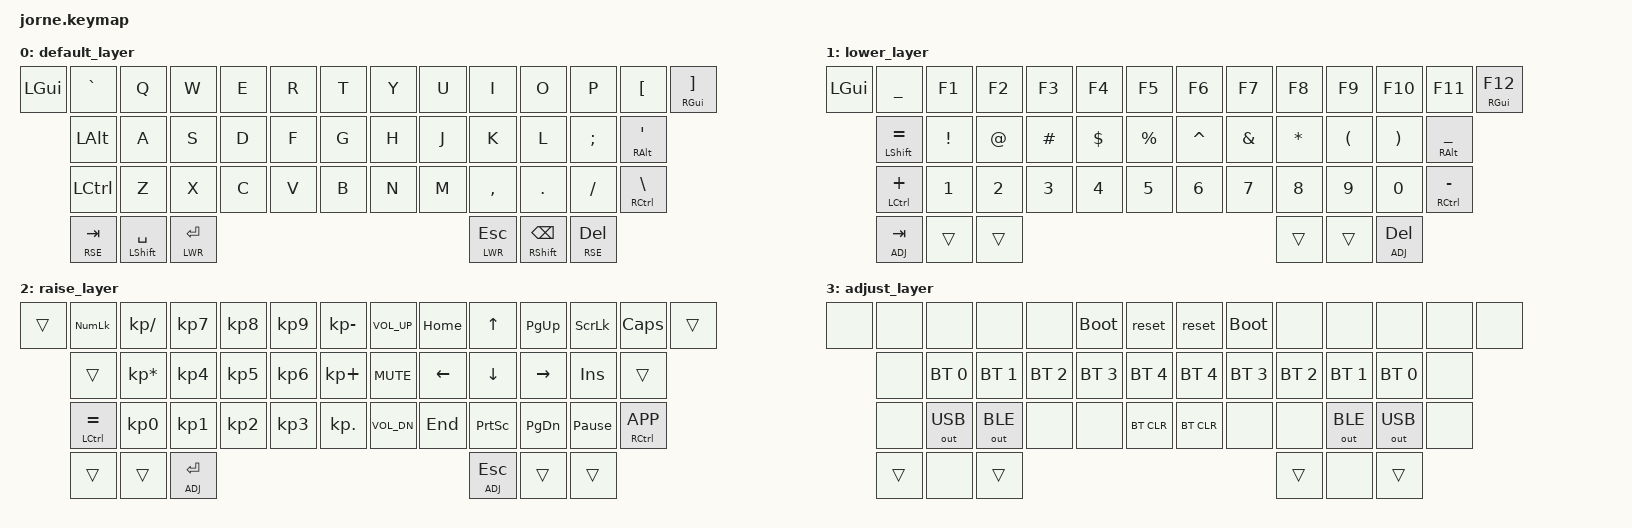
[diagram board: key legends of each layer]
/*
 * Copyright (c) 2020 The ZMK Contributors
 *
 * SPDX-License-Identifier: MIT
 */

#include <behaviors.dtsi>
#include <dt-bindings/zmk/keys.h>
#include <dt-bindings/zmk/bt.h>
#include <dt-bindings/zmk/ext_power.h>
#include <dt-bindings/zmk/outputs.h>

#define DEF 0
#define LWR 1
#define RSE 2
#define ADJ 3

&lt { quick_tap_ms = <200>; };
&mt { quick_tap_ms = <200>; };

/ {
        keymap {
                compatible = "zmk,keymap";

                default_layer {
// -----------------------------------------------------------------------------------------
// |  GUI |   ~  |  Q  |  W  |  E  |  R  |  T  |   |  Y  |  U   |  I  |  O  |  P  |   [   | GUI/] |
//        | LALT |  A  |  S  |  D  |  F  |  G  |   |  H  |  J   |  K  |  L  |  ;  | RALT/'|
//        | LCTRL|  Z  |  X  |  C  |  V  |  B  |   |  N  |  M   |  ,  |  .  |  /  | CTRL  |
//                           | RSE | SPC | LWR |   | LWR | BKSP | RSE |
                        bindings = <
   &kp LGUI &kp GRAVE &kp Q &kp W &kp E &kp R &kp T &kp Y   &kp U  &kp I     &kp O   &kp P    &kp LBKT &mt RGUI RBKT
            &kp LALT  &kp A &kp S &kp D &kp F &kp G &kp H   &kp J  &kp K     &kp L   &kp SEMI &mt RALT SQT
            &kp LCTRL &kp Z &kp X &kp C &kp V &kp B &kp N   &kp M  &kp COMMA &kp DOT &kp FSLH &mt RCTRL BSLH
                &lt RSE TAB  &mt LSHFT SPACE  &lt LWR RET   &lt LWR ESC  &mt RSHFT BSPC  &lt RSE DEL
                        >;
                };
                lower_layer {
// -----------------------------------------------------------------------------------------
// |     |  _  |  F1 |  F2 |  F3 |  F4 |  F5 |   |  F6 |  F7 |  F8 |  F9 | F10 | F11 | F12 |
//       |  +  |  !  |  @  |  #  |  $  |  %  |   |  ^  |  &  |  *  |  (  |  )  |  _  |
//       |  =  |  1  |  2  |  3  |  4  |  5  |   |  6  |  7  |  8  |  9  |  0  |  -  |
//                         | GUI |     |     |   |     |     | ALT |
                        bindings = <
   &kp LGUI &kp UNDER       &kp F1   &kp F2 &kp F3   &kp F4   &kp F5      &kp F6    &kp F7   &kp F8   &kp F9   &kp F10  &kp F11         &mt RGUI F12
            &mt LSHFT EQUAL &kp EXCL &kp AT &kp HASH &kp DLLR &kp PRCNT   &kp CARET &kp AMPS &kp STAR &kp LPAR &kp RPAR &mt RALT UNDER
            &mt LCTRL PLUS  &kp N1   &kp N2 &kp N3   &kp N4   &kp N5      &kp N6    &kp N7   &kp N8   &kp N9   &kp N0   &mt RCTRL MINUS
                                            &lt ADJ TAB  &trans  &trans   &trans  &trans  &lt ADJ DEL
                        >;
                };

                raise_layer {
// -----------------------------------------------------------------------------------------
// |     | NMLK |  /  |  7  |  8  |  9  |  -  |   | VOLU| HOME|  UP | PGUP| SCLK| CAPS|     |
//       |      |  *  |  4  |  5  |  6  |  +  |   | MUT | LEFT| DOWN| RGHT| INS |     |
//       | CTRL |  0  |  1  |  2  |  3  |  .  |   | VOLD| END | PRSC| PGDN| PAUS|RCTRL|
//                          |     |     | ADJ |   | ADJ |     |     |
                        bindings = <
   &trans &kp KP_NUM      &kp KP_SLASH    &kp KP_N7 &kp KP_N8 &kp KP_N9 &kp KP_MINUS   &kp C_VOL_UP &kp HOME &kp UP    &kp PG_UP &kp SLCK        &kp CAPS        &trans
          &trans          &kp KP_MULTIPLY &kp KP_N4 &kp KP_N5 &kp KP_N6 &kp KP_PLUS    &kp C_MUTE   &kp LEFT &kp DOWN  &kp RIGHT &kp INS         &trans
          &mt LCTRL EQUAL &kp KP_N0       &kp KP_N1 &kp KP_N2 &kp KP_N3 &kp KP_DOT     &kp C_VOL_DN &kp END  &kp PSCRN &kp PG_DN &kp PAUSE_BREAK &mt RCTRL K_APP
                                                         &trans  &trans  &lt ADJ RET   &lt ADJ ESC  &trans  &trans
                        >;
                };
                adjust_layer {
// -----------------------------------------------------------------------------------------
// |     |     |     |     |     | BLDR| RST |   | RST | BLDR|     |     |     |     |     |
//       |     | BT0 | BT1 | BT2 | BT3 | BT4 |   | BT4 | BT3 | BT2 | BT1 | BT0 |     |
//       |     | USB | BLE |     |     |BTCLR|   |BTCLR|     |     | BLE | USB |     |
//                         |     |     |     |   |     |     |     |
                        bindings = <
   &none &none &none        &none        &none        &bootloader  &reset         &reset       &bootloader  &none        &none        &none         &none &none
         &none &bt BT_SEL 0 &bt BT_SEL 1 &bt BT_SEL 2 &bt BT_SEL 3 &bt BT_SEL 4   &bt BT_SEL 4 &bt BT_SEL 3 &bt BT_SEL 2 &bt BT_SEL 1 &bt BT_SEL 0  &none
         &none &out OUT_USB &out OUT_BLE &none        &none        &bt BT_CLR     &bt BT_CLR   &none        &none        &out OUT_BLE &out OUT_USB  &none
                                                          &trans  &none  &trans   &trans  &none  &trans
                        >;
                };
        };
};
